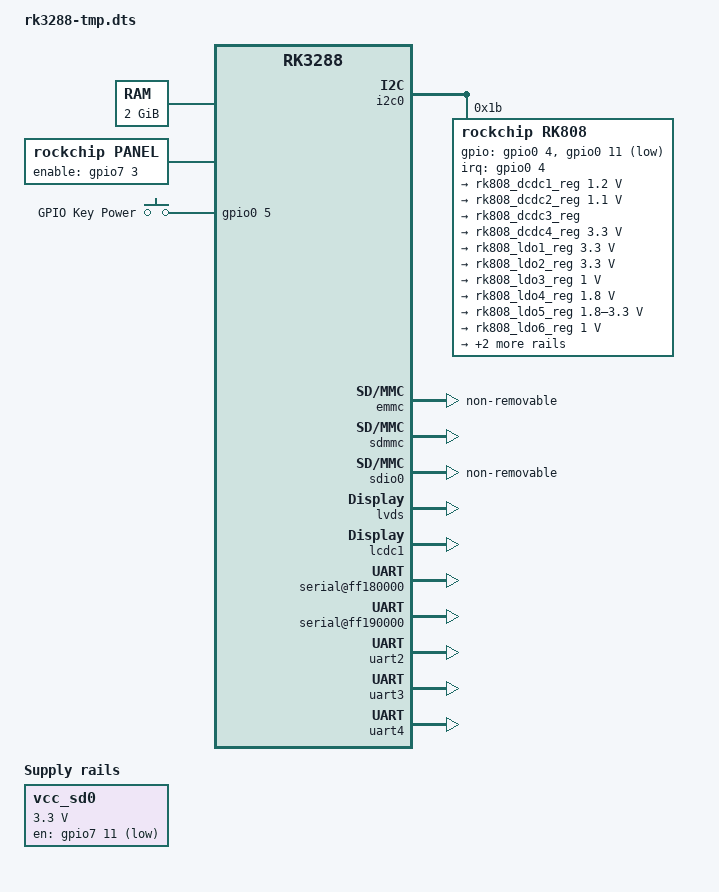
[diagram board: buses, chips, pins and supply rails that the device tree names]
/*
 * This program is free software; you can redistribute it and/or modify
 * it under the terms of the GNU General Public License as published by
 * the Free Software Foundation; either version 2 of the License, or
 * (at your option) any later version.
 *
 * This program is distributed in the hope that it will be useful,
 * but WITHOUT ANY WARRANTY; without even the implied warranty of
 * MERCHANTABILITY or FITNESS FOR A PARTICULAR PURPOSE.  See the
 * GNU General Public License for more details.
 */

/dts-v1/;
#include "rk3288.dtsi"

/ {
	compatible = "rockchip,rk3288-tmp", "rockchip,rk3288";

	aliases {
		mshc0 = &sdmmc;
		mshc1 = &sdio0;
		mshc3 = &emmc;

		serial0 = &uart0;
		serial1 = &uart1;
		serial2 = &uart2;
		serial3 = &uart3;
		serial4 = &uart4;
	};

	memory {
		reg = <0x0 0x80000000>;
	};

	regulators {
		compatible = "simple-bus";
		#address-cells = <1>;
		#size-cells = <0>;

		vcc_sd0: fixed-regulator@0 {
			compatible = "regulator-fixed";
			reg = <0>;

			regulator-name = "sdmmc-supply";
			regulator-min-microvolt = <3300000>;
			regulator-max-microvolt = <3300000>;
			gpio = <&gpio7 11 GPIO_ACTIVE_LOW>;
			startup-delay-us = <100000>;
//			vin-supply = <&vcc_io>;
		};
	};
	/*for lvds 
	panel:panel {
		compatible = "rockchip,panel";
		status = "okay";
		rockchip,output-face = "r6g6b6";

		enable-gpios = <&gpio7 3 GPIO_ACTIVE_HIGH
				&gpio7 4 GPIO_ACTIVE_HIGH
				&gpio7 0 GPIO_ACTIVE_HIGH
				&gpio7 2 GPIO_ACTIVE_HIGH>;
		output-dither;

		display-timings {
			native-mode = <&timing0>;
			timing0: 1280x800 {
				clock-frequency = <71000000>;
				hactive = <1280>;
				vactive = <800>;
				hback-porch = <100>;
				hfront-porch = <18>;
				vback-porch = <8>;
				vfront-porch = <6>;
				hsync-len = <10>;
				vsync-len = <2>;
				hsync-active = <0>;
				vsync-active = <0>;
				de-active = <0>;
				pixelclk-active = <0>;
			};
		};
	};*/
	// for 1536x2048 edp
	panel:panel {
		compatible = "rockchip,panel";
		status = "okay";
		rockchip,output-face = "r6g6b6";

		enable-gpios = <&gpio7 3 GPIO_ACTIVE_HIGH>;
		output-dither;

		display-timings {
			native-mode = <&timing1>;
			timing1: timing@1 {
				clock-frequency = <205000000>;
				hactive = <1536>;
				vactive = <2048>;
				hback-porch = <48>;
				hfront-porch = <12>;
				vback-porch = <8>;
				vfront-porch = <8>;
				hsync-len = <16>;
				vsync-len = <4>;
				hsync-active = <0>;
				vsync-active = <0>;
				de-active = <0>;
				pixelclk-active = <1>;
			};
		};
	};

	soc {
		gpio-keys {
			compatible = "gpio-keys";
			#address-cells = <1>;
			#size-cells = <0>;
			autorepeat;

			button@0 {
				gpios = <&gpio0 5 GPIO_ACTIVE_HIGH>;
				linux,code = <116>;
				label = "GPIO Key Power";
				linux,input-type = <1>;
				gpio-key,wakeup = <1>;
				debounce-interval = <100>;
			};
		};

		i2c0: i2c@ff650000 {
			pinctrl-names = "default";
			pinctrl-0 = <&i2c0_xfer>;
			status = "okay";

			rk808: rk808@1b {
				compatible = "rockchip,rk808";
				reg = <0x1b>;

				interrupt-parent = <&gpio0>;
				interrupts = <4 IRQ_TYPE_EDGE_FALLING>; /* gpio0_a */
				gpios = <&gpio0 4 GPIO_ACTIVE_HIGH>,<&gpio0 11 GPIO_ACTIVE_LOW>;
			};
		};
		emmc: dwmmc@ff0f0000 {
			num-slots = <1>;
			status = "okay";
		
			clock-frequency = <150000000>;
			clock-freq-min-max = <400000 150000000>;

			default_voltage = <1>; //1.8v
	
			broken-cd;
			non-removable;
			supports-highspeed;
			caps2-mmc-hs200-1_8v;

			pinctrl-names = "default";
			pinctrl-0 = <&emmc_clk &emmc_cmd &emmc_rst &emmc_pwr &emmc_bus8>;

			slot@0 {
				reg = <0>;
				bus-width = <8>;
				disable-wp;
			};
}		;

		sdmmc: dwmmc@ff0c0000 {
			num-slots = <1>;
			status = "okay";

			clock-frequency = <50000000>;
			clock-freq-min-max = <400000 50000000>;

			supports-highspeed;

			pinctrl-names = "default";
			pinctrl-0 = <&sdmmc_clk &sdmmc_cmd &sdmmc_cd &sdmmc_bus4>;

			slot@0 {
				reg = <0>;
				bus-width = <4>;
				disable-wp;
			};
		};

		sdio0: dwmmc@ff0d0000 {
			num-slots = <1>;
			status = "okay";

			clock-frequency = <50000000>;
			clock-freq-min-max = <400000 50000000>;

			default_voltage = <1>; //1.8v

			broken-cd;
			non-removable;
			cap-sdio-irq;
			supports-highspeed;
			ignore-pm-notify;
			keep-power-in-suspend;

			pinctrl-names = "default";
			pinctrl-0 = <&sdio0_clk &sdio0_cmd &sdio0_cd &sdio0_pwr &sdio0_bkpwr &sdio0_bus4>;

			rockchip,grf = <&grf>;

			slot@0 {
				reg = <0>;
				bus-width = <4>;
				disable-wp;
			};
		};
	
		edp: edp@ff970000 {                                                                                                        
			status = "disabled";
			rockchip,panel = <&panel>;
		};

		lvds: lvds@ff96c000 {
			status = "okay";
			rockchip,data-mapping = "jeida";
			rockchip,data-width = <24>;
			rockchip,panel = <&panel>;
		};

		lcdc1: lcdc@ff940000 {
			status = "okay";
		};
	
		watchdog@ff800000 {
			status = "okay";
		};

		/* uart_bt */
		serial@ff180000 {
			status = "okay";
		};

		/* uart_bb */
		serial@ff190000 {
			status = "okay";
		};

		/* uart_dbg */
		uart2: serial@ff690000 {
			status = "okay";
		};

		/* uart_gps */
		uart3: serial@ff1b0000 {
			status = "okay";
		};

		/* uart_exp */
		uart4: serial@ff1c0000 {
			status = "okay";
		};
	};
};
	&rk808 {
	//compatible = "rockchip,rk808";
	rk808,system-power-controller;
	regulators {
		#address-cells = <1>;
		#size-cells = <0>;

		rk808_dcdc1_reg: regulator@0 {
			reg = <0>;
			regulator-compatible = "DCDC_REG1";
			regulator-name = "vdd_arm";
			regulator-min-microvolt = <1200000>;
			regulator-max-microvolt = <1200000>;
			regulator-initial-mode = <0x2>;
			regulator-always-on;
			regulator-boot-on;
			regulator-initial-state = <3>;
			regulator-state-mem {
				regulator-state-mode = <0x2>;
				regulator-state-disabled;//disabled
				regulator-state-uv = <900000>;
			};
		};

		rk808_dcdc2_reg: regulator@1 {
			reg = <1>;
			regulator-compatible = "DCDC_REG2";
			regulator-name = "vdd_gpu";
			regulator-min-microvolt = <1100000>;
			regulator-max-microvolt = <1100000>;
			regulator-initial-mode = <0x2>;
			regulator-always-on;
			regulator-boot-on;
			regulator-initial-state = <3>;
			regulator-state-mem {
				regulator-state-mode = <0x2>;
				regulator-state-disabled;
				regulator-state-uv = <900000>;
			};
		};

		rk808_dcdc3_reg: regulator@2 {
			reg = <2>;
			regulator-compatible = "DCDC_REG3";
			regulator-name = "vdd_ddr";
			regulator-initial-mode = <0x2>;
			regulator-always-on;
			regulator-boot-on;
			regulator-initial-state = <3>;
			regulator-state-mem {
				regulator-state-enabled;
			};
		};

		rk808_dcdc4_reg: regulator@3 {
			reg = <3>;
			regulator-compatible = "DCDC_REG4";
			regulator-name = "vccio";
			regulator-min-microvolt = <3300000>;
			regulator-max-microvolt = <3300000>;
			regulator-initial-mode = <0x2>;
			regulator-always-on;
			regulator-boot-on;
			regulator-initial-state = <3>;
			regulator-state-mem {
				regulator-state-mode = <0x2>;
				regulator-state-enabled;
				regulator-state-uv = <2800000>;
			};
		};

		rk808_ldo1_reg: regulator@4 {
			reg = <4>;
			regulator-compatible = "LDO_REG1";
			regulator-min-microvolt = <3300000>;
			regulator-max-microvolt = <3300000>;
			regulator-always-on;
			regulator-boot-on;
			regulator-initial-state = <3>;
			regulator-state-mem {
				regulator-state-enabled;
				regulator-state-uv = <3300000>;
			};
		};

		rk808_ldo2_reg: regulator@5 {
			reg = <5>;
			regulator-compatible = "LDO_REG2";
			regulator-min-microvolt = <3300000>;
			regulator-max-microvolt = <3300000>;
			regulator-always-on;
			regulator-boot-on;
			regulator-initial-state = <3>;
			regulator-state-mem {
				regulator-state-enabled;
				regulator-state-uv = <3300000>;
			};
		};

		rk808_ldo3_reg: regulator@6 {
			reg = <6>;
			regulator-compatible = "LDO_REG3";
			regulator-min-microvolt = <1000000>;
			regulator-max-microvolt = <1000000>;
			regulator-always-on;
			regulator-boot-on;
			regulator-initial-state = <3>;
			regulator-state-mem {
				regulator-state-enabled;
				regulator-state-uv = <1000000>;
			};
		};

		rk808_ldo4_reg: regulator@7{
			reg = <7>;
			regulator-compatible = "LDO_REG4";
			regulator-min-microvolt = <1800000>;
			regulator-max-microvolt = <1800000>;
			regulator-always-on;
			regulator-boot-on;
			regulator-initial-state = <3>;
			regulator-state-mem {
				regulator-state-disabled;
				regulator-state-uv = <1800000>;
			};
		};

		rk808_ldo5_reg: regulator@8{
			reg = <8>;
			regulator-compatible = "LDO_REG5";
			regulator-min-microvolt = <1800000>;
			regulator-max-microvolt = <3300000>;
			regulator-initial-state = <3>;
			regulator-always-on;
			regulator-boot-on;
			regulator-state-mem {
				regulator-state-enabled;
				regulator-state-uv = <3300000>;
			};
		};

		rk808_ldo6_reg: regulator@9{
			reg = <9>;
			regulator-compatible = "LDO_REG6";
			regulator-min-microvolt = <1000000>;
			regulator-max-microvolt = <1000000>;
			regulator-initial-state = <3>;
			regulator-always-on;
			regulator-boot-on;
			regulator-state-mem {
				regulator-state-disabled;
				regulator-state-uv = <1000000>;
			};
		};

		rk808_ldo7_reg: regulator@10 {
			reg = <10>;
			regulator-compatible = "LDO_REG7";
			regulator-min-microvolt = <1800000>;
			regulator-max-microvolt = <1800000>;
			regulator-initial-state = <3>;
			regulator-always-on;
			regulator-boot-on;
			regulator-state-mem {
				regulator-state-enabled;
				regulator-state-uv = <1800000>;
			};
		};

		rk808_ldo8_reg: regulator@11{
			reg = <11>;
			regulator-compatible = "LDO_REG8";
			regulator-min-microvolt = <3300000>;
			regulator-max-microvolt = <3300000>;
			regulator-initial-state = <3>;
			regulator-always-on;
			regulator-boot-on;
			regulator-state-mem {
				regulator-state-enabled;
				regulator-state-uv = <3300000>;
			};
		};

		rk808_ldo9_reg: regulator@12{
			reg = <12>;
			regulator-compatible = "SWITCH_REG1";
			regulator-initial-state = <3>;
			regulator-always-on;
			regulator-boot-on;
			regulator-state-mem {
				regulator-state-enabled;
			};
		};

		rk808_ldo10_reg: regulator@13{
			reg = <13>;
			regulator-compatible = "SWITCH_REG2";
			regulator-initial-state = <3>;
			regulator-always-on;
			regulator-boot-on;
			regulator-state-mem {
				regulator-state-disabled;
			};
		};

	};
};
